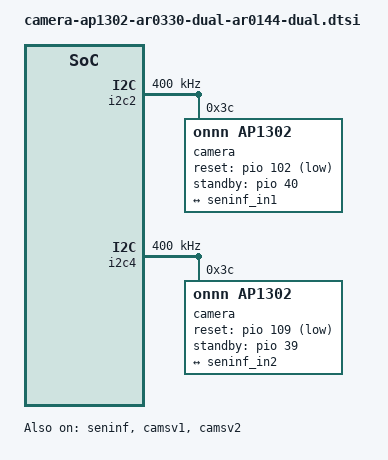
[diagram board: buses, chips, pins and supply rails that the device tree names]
// SPDX-License-Identifier: GPL-2.0
/*
 * Copyright (c) 2020 Laurent Pinchart <laurent.pinchart@ideasonboard.com>
 */

#include <dt-bindings/clock/mt8183-clk.h>
#include <dt-bindings/gpio/gpio.h>
#include <dt-bindings/pinctrl/mt8183-pinfunc.h>

/dts-v1/;
/plugin/;

/ {
	fragment@0 {
		target = <&pio>;
		__overlay__ {
			cam1_pins_default: cam1_pins_default {
				pins_clk_rst {
					pinmux = <PINMUX_GPIO40__FUNC_GPIO40>,
						 <PINMUX_GPIO100__FUNC_CMMCLK1>,
						 <PINMUX_GPIO102__FUNC_GPIO102>;
				};
			};

			cam2_pins_default: cam2_pins_default {
				pins_clk_rst {
					pinmux = <PINMUX_GPIO39__FUNC_GPIO39>,
						 <PINMUX_GPIO108__FUNC_CMMCLK2>,
						 <PINMUX_GPIO109__FUNC_GPIO109>;
				};
			};
		};
	};

	fragment@1 {
		target = <&mt6358regulator>;
		__overlay__ {
			mt6358_vldo28_reg: ldo_vldo28 {
				regulator-min-microvolt = <2800000>;
				regulator-max-microvolt = <2800000>;
			};

			mt6358_vcama1_reg: ldo_vcama1 {
				regulator-min-microvolt = <2800000>;
				regulator-max-microvolt = <2800000>;
			};

			mt6358_vcama2_reg: ldo_vcama2 {
				regulator-min-microvolt = <2800000>;
				regulator-max-microvolt = <2800000>;
			};

			mt6358_vcamd_reg: ldo_vcamd {
				regulator-min-microvolt = <1200000>;
				regulator-max-microvolt = <1200000>;
			};

			mt6358_vcamio_reg: ldo_vcamio {
				regulator-min-microvolt = <1800000>;
				regulator-max-microvolt = <1800000>;
			};
		};
	};

	fragment@2 {
		target = <&i2c2>;
		__overlay__ {
			clock-frequency = <400000>;

			camera@3c {
				compatible = "onnn,ap1302";
				reg = <0x3c>;

				pinctrl-names = "default";
				pinctrl-0 = <&cam1_pins_default>;

				clocks = <&topckgen CLK_TOP_MUX_CAMTG2>;
				assigned-clocks = <&topckgen CLK_TOP_MUX_CAMTG2>;
				assigned-clock-parents = <&topckgen CLK_TOP_UNIVP_192M_D4>;

				reset-gpios = <&pio 102 GPIO_ACTIVE_LOW>;
				standby-gpios = <&pio 40 GPIO_ACTIVE_HIGH>;

				orientation = <0>;
				rotation = <0>;

				port {
					isp1_out: endpoint {
						remote-endpoint = <&seninf_in1>;
						data-lanes = <1 2 3 4>;
					};
				};

				sensors {
					#address-cells = <1>;
					#size-cells = <0>;

					onnn,model = "onnn,ar0144";

					sensor@0 {
						reg = <0>;

						vdd-supply = <&mt6358_vcamd_reg>;
						vaa-supply = <&mt6358_vcama1_reg>;
						vddio-supply = <&reg_1p8v_ext>;
					};

					sensor@1 {
						reg = <1>;

						vdd-supply = <&mt6358_vcamd_reg>;
						vaa-supply = <&mt6358_vcama2_reg>;
						vddio-supply = <&reg_1p8v_ext>;
					};
				};
			};
		};
	};

	fragment@3 {
		target = <&i2c4>;
		__overlay__ {
			clock-frequency = <400000>;

			camera@3c {
				compatible = "onnn,ap1302";
				reg = <0x3c>;

				pinctrl-names = "default";
				pinctrl-0 = <&cam2_pins_default>;

				clocks = <&topckgen CLK_TOP_MUX_CAMTG3>;
				assigned-clocks = <&topckgen CLK_TOP_MUX_CAMTG3>;
				assigned-clock-parents = <&topckgen CLK_TOP_UNIVP_192M_D4>;

				reset-gpios = <&pio 109 GPIO_ACTIVE_LOW>;
				standby-gpios = <&pio 39 GPIO_ACTIVE_HIGH>;

				orientation = <0>;
				rotation = <0>;

				port {
					isp2_out: endpoint {
						remote-endpoint = <&seninf_in2>;
						data-lanes = <1 2 3 4>;
					};
				};

				sensors {
					#address-cells = <1>;
					#size-cells = <0>;

					onnn,model = "onnn,ar0330";

					sensor@0 {
						reg = <0>;

						vdd-supply = <&reg_1p8v_ext>;
						vddpll-supply = <&mt6358_vldo28_reg>;
						vaa-supply = <&mt6358_vcama1_reg>;
						vddio-supply = <&mt6358_vcamio_reg>;
					};

					sensor@1 {
						reg = <1>;

						vdd-supply = <&reg_1p8v_ext>;
						vddpll-supply = <&mt6358_vldo28_reg>;
						vaa-supply = <&mt6358_vcama2_reg>;
						vddio-supply = <&mt6358_vcamio_reg>;
					};
				};
			};
		};
	};

	fragment@4 {
		target = <&seninf>;
		__overlay__ {
			status = "okay";

			ports {
				port@1 {
					seninf_in1: endpoint {
						clock-lanes = <2>;
						data-lanes = <1 3 0 4>;
						remote-endpoint = <&isp1_out>;
					};
				};

				port@2 {
					seninf_in2: endpoint {
						clock-lanes = <2>;
						data-lanes = <1 3 0 4>;
						remote-endpoint = <&isp2_out>;
					};
				};
			};
		};
	};

	fragment@5 {
		target = <&camsv1>;
		__overlay__ {
			status = "okay";
		};
	};

	fragment@6 {
		target = <&camsv2>;
		__overlay__ {
			status = "okay";
		};
	};
};
